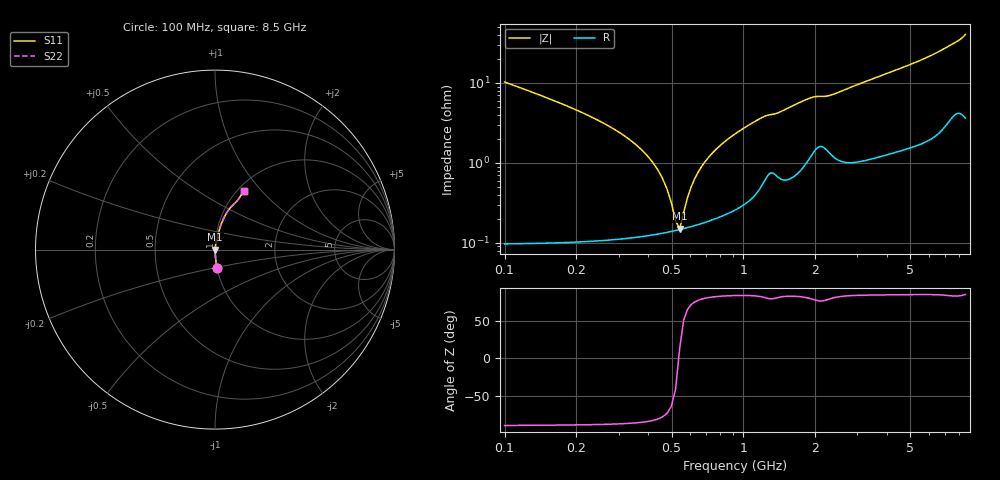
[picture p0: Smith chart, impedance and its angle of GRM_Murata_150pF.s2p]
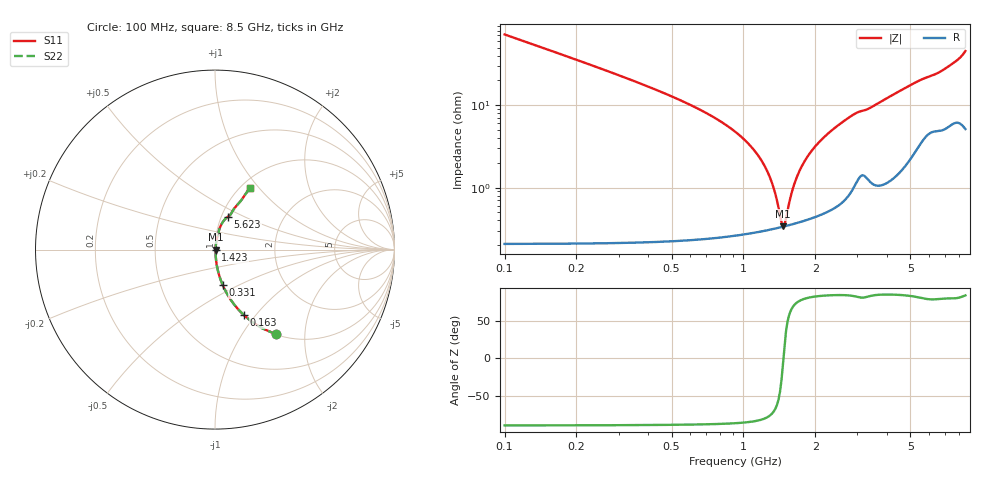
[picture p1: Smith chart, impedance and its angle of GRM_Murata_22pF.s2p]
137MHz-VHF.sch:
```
<QucsStudio Schematic 5.9>
<Properties>
View=-1280.5,-909.221,3400.68,1079.55,0.572357,1010,393
Grid=10,10,0
DataSet=*.dat
DataDisplay=*.dpl
OpenDisplay=3
showFrame=0
FrameText0=Title \n @PATH@@FILE@
FrameText1=Drawn By:
FrameText2=Date: @DATE@
FrameText3=Revision:
tune=C14: C|1pF|21pF
tune=L15: L|50nH|1050nH
</Properties>
<Symbol>
</Symbol>
<Components>
Pac P1 1 -880 410 18 -26 0 "1"1"50"1"0 dBm"0"1 GHz"0"26.85"0"con_2"0
GND * 1 -880 440 0 0 0
GND * 1 -410 370 0 0 0
GND * 1 -410 280 0 0 0
GND * 1 -270 370 0 0 0
GND * 1 -270 280 0 0 0
GND * 1 -30 370 0 0 0
GND * 1 -30 280 0 0 0
GND * 1 110 370 0 0 0
GND * 1 110 280 0 0 0
GND * 1 -570 500 0 0 0
GND * 1 -540 370 0 0 1
GND * 1 -540 450 0 0 1
GND * 1 -150 500 0 0 0
GND * 1 -120 370 0 0 1
GND * 1 -120 450 0 0 1
GND * 1 240 370 0 0 1
SPfile X40 1 110 250 23 -59 0 "GRM_Murata_150pF.s2p"1"2"0"polar"0"linear"0"short"0"none"0"block"0"SOT23"0
SPfile X44 1 -150 450 -221 -6 1 "GRM_Murata_22pF.s2p"1"2"0"polar"0"linear"0"short"0"none"0"block"0"SOT23"0
SPfile X39 1 110 340 36 -45 0 "CoilCraft_33nH.s2p"1"2"0"polar"0"linear"0"short"0"none"0"block"0"SOT23"0
SPfile X41 1 -30 250 -68 -69 0 "GRM_Murata_100pF.s2p"1"2"0"polar"0"linear"0"short"0"none"0"block"0"SOT23"0
SPfile X34 1 -570 450 -225 -17 1 "GRM_Murata_22pF.s2p"1"2"0"polar"0"linear"0"short"0"none"0"block"0"SOT23"0
SPfile X35 1 -410 250 -243 -47 0 "GRM_Murata_100pF.s2p"1"2"0"polar"0"linear"0"short"0"none"0"block"0"SOT23"0
SPfile X36 1 -410 340 -203 -48 0 "CoilCraft_82nH.s2p"1"2"0"polar"0"linear"0"short"0"none"0"block"0"SOT23"0
SPfile X33 1 -570 370 -202 -18 1 "CoilCraft_150nH.s2p"1"2"0"polar"0"linear"0"short"0"none"0"block"0"SOT23"0
GND * 1 240 460 0 0 1
GND * 1 210 490 0 0 0
SPfile X45 1 210 460 61 -24 1 "GRM_Murata_12pF.s2p"1"2"0"polar"0"linear"0"short"0"none"0"block"0"SOT23"0
SPfile X37 1 -270 250 -62 -72 0 "GRM_Murata_82pF.s2p"1"2"0"polar"0"linear"0"short"0"none"0"block"0"SOT23"0
SPfile X32 1 210 370 60 -20 1 "CoilCraft_220nH.s2p"1"2"0"polar"0"linear"0"short"0"none"0"block"0"SOT23"0
GND * 1 1470 370 0 0 0
SPfile X2 1 1470 340 -265 -61 0 "PGA-103+_5V_Plus25DegC_conRuido.s2p"1"2"0"polar"0"linear"0"short"0"none"0"block"0"SOT23"0
C Cblock1 1 880 340 -20 -58 0 "10 nF"1"0"0""0"neutral"0"SMD0603"0
R R_d 1 1290 400 -76 -18 1 "50 Ω"1"26.85"0"european"0"SMD0603"0
GND * 1 1270 160 0 0 0
C C12 1 1270 130 17 -26 1 "0.33uF"1"0"0""0"neutral"0"SMD0603"0
C C13 1 1200 130 -63 -17 1 "10uF"1"0"0""0"neutral"0"SMD0603"0
Vdc V2 1 1110 130 -51 -19 0 "5 V"1"battery"0"con_2"0
GND * 1 1110 160 0 0 0
GND * 1 1200 160 0 0 0
GND * 1 1050 410 0 0 1
GND * 1 1320 540 0 0 1
GND * 1 1290 570 0 0 0
SPfile X53 1 1290 540 61 -21 1 "CoilCraft_470nH.s2p"1"2"0"polar"0"linear"0"short"0"none"0"block"0"SOT23"0
SPfile X54 1 1020 410 -209 -15 1 "CoilCraft_680nH.s2p"1"2"0"polar"0"linear"0"short"0"none"0"block"0"SOT23"0
GND * 1 1600 190 0 0 1
SPfile X55 1 1570 190 86 -20 1 "CoilCraft_470nH.s2p"1"2"0"polar"0"linear"0"short"0"none"0"block"0"SOT23"0
GND * 1 1020 610 0 0 0
R R1 1 1020 520 -75 -19 1 "150 Ω"1"26.85"0"european"0"SMD0603"0
GND * 1 1050 580 0 0 1
SPfile X17 1 1020 580 -231 -22 1 "GRM_Murata_330pF.s2p"1"2"0"polar"0"linear"0"short"0"none"0"block"0"SOT23"0
C Cblock2 1 1650 340 -20 -58 0 "10 nF"1"0"0""0"neutral"0"SMD0603"0
SPfile X43 1 -150 370 -88 -73 1 "CoilCraft_120nH.s2p"1"2"0"polar"0"linear"0"short"0"none"0"block"0"SOT23"0
SPfile X42 1 -270 340 -83 52 0 "CoilCraft_33nH.s2p"1"2"0"polar"0"linear"0"short"0"none"0"block"0"SOT23"0
SPfile X38 1 -30 340 -47 53 0 "CoilCraft_22nH.s2p"1"2"0"polar"0"linear"0"short"0"none"0"block"0"SOT23"0
Pac P2 1 3250 400 18 -26 0 "2"1"50"1"0 dBm"0"1 GHz"0"26.85"0"con_2"0
GND * 1 3250 430 0 0 0
GND * 1 2410 490 0 0 0
GND * 1 2850 520 0 0 0
GND * 1 2690 370 0 0 0
SPfile X47 1 2690 340 -24 -64 0 "CoilCraft_270nH.s2p"1"2"0"polar"0"linear"0"short"0"none"0"block"0"SOT23"0
GND * 1 2570 370 0 0 0
SPfile X48 1 2570 340 -148 -62 0 "GRM_Murata_4pF.s2p"1"2"0"polar"0"linear"0"short"0"none"0"block"0"SOT23"0
GND * 1 2400 420 0 0 1
SPfile X49 1 2370 420 -168 -75 1 "GRM_Murata_68pF.s2p"1"2"0"polar"0"linear"0"short"0"none"0"block"0"SOT23"0
GND * 1 2830 420 0 0 1
SPfile X50 1 2800 420 -229 -20 1 "GRM_Murata_68pF.s2p"1"2"0"polar"0"linear"0"short"0"none"0"block"0"SOT23"0
GND * 1 2490 420 0 0 1
SPfile X51 1 2460 420 -7 32 1 "CoilCraft_16nH.s2p"1"2"0"polar"0"linear"0"short"0"none"0"block"0"SOT23"0
GND * 1 2940 420 0 0 1
SPfile X52 1 2910 420 54 -19 1 "CoilCraft_16nH.s2p"1"2"0"polar"0"linear"0"short"0"none"0"block"0"SOT23"0
.SP SP1 1 -1230 -760 0 9 0 "lin"1"10 MHz"1"600MHz"1"1201"1"yes"1"1"0"2"0"none"0
</Components>
<Wires>
-880 340 -880 380
-880 340 -570 340
-570 340 -440 340
-380 340 -300 340
-240 340 -150 340
0 340 80 340
140 340 210 340
-380 250 -380 340
-440 250 -440 340
-570 400 -570 420
-570 480 -570 500
-240 250 -240 340
-300 250 -300 340
140 250 140 340
80 250 80 340
0 250 0 340
-60 250 -60 340
-150 480 -150 500
210 400 210 430
210 340 850 340
1290 340 1440 340
1290 340 1290 370
1500 340 1570 340
1270 100 1570 100
1200 100 1270 100
1110 100 1200 100
910 340 1020 340
1020 340 1290 340
1020 340 1020 380
1290 430 1290 510
1570 100 1570 160
1570 220 1570 340
1020 440 1020 490
1570 340 1620 340
-150 340 -60 340
-150 400 -150 420
3250 340 3250 370
2600 340 2660 340
2420 340 2420 390
2410 450 2410 490
2370 450 2410 450
2370 390 2420 390
2420 390 2460 390
2410 450 2460 450
2800 450 2850 450
2850 450 2910 450
2850 450 2850 520
2720 340 2850 340
2800 390 2850 390
2850 340 3250 340
2850 390 2910 390
2850 340 2850 390
2420 340 2540 340
1680 340 2420 340
</Wires>
<Diagrams>
<Eqn -1010 -700 272 18 71 #c0c0c0 1 00 1 0 1 1 1 0 1 1 1 0 1 1 -1 -1 -1 "" "" "">
	<Legend 10 -100 0>
	<"f=frequency/1e6" "" #0000ff 2 3 1 -1 0 0 "">
</Eqn>
<Eqn -1010 -670 331 18 71 #c0c0c0 1 00 1 0 1 1 1 0 1 1 1 0 1 1 -1 -1 -1 "" "" "">
	<Legend 10 -100 0>
	<"K=rollet(S)" "" #0000ff 2 3 1 -1 0 0 "">
</Eqn>
<Eqn -1010 -640 331 18 71 #c0c0c0 1 00 1 0 1 1 1 0 1 1 1 0 1 1 -1 -1 -1 "" "" "">
	<Legend 10 -100 0>
	<"u=mu(S)" "" #0000ff 2 3 1 -1 0 0 "">
</Eqn>
<Rect -2 -490 500 337 31 #c0c0c0 1 00 1 0 1 1 1 0 1 1 1 0 1 1 -1 -1 -1 "" "" "">
	<Legend 10 -100 0>
	<"dB(S[1,1])" "" #0000ff 2 3 0 0 0 0 "">
	<"dB(S[2,2])" "" #ff0000 2 3 0 0 0 0 "">
</Rect>
<Smith 57 -100 337 337 31 #c0c0c0 1 00 1 0 1 1 1 0 1 1 1 0 1 1 -1 -1 -1 "" "" "">
	<Legend 10 -100 0>
	<"S[1,1]" "" #0000ff 2 3 0 0 0 0 "">
	  <Mkr 1.37342e+08 263 -190 3 1 0 0 1 50>
	<"S[2,2]" "" #ff0000 2 3 0 0 0 0 "">
	  <Mkr 1.37342e+08 263 -260 3 1 0 0 1 50>
</Smith>
<Tab 536 -439 517 388 71 #c0c0c0 1 00 1 53 1 1 1 0 1 1 1 0 1 1201 -1 -1 -1 "" "" "">
	<"f" "" #0000ff 2 3 1 0 0 0 "">
	<"dB(S[1,1])" "" #0000ff 2 3 1 0 0 0 "">
	<"dB(S[2,2])" "" #0000ff 2 3 1 0 0 0 "">
	<"dB(S[2,1])" "" #0000ff 2 3 1 0 0 0 "">
	<"NF" "" #0000ff 2 3 1 0 0 0 "">
</Tab>
<Rect -661 -500 571 304 31 #c0c0c0 1 00 1 0 1 1 1 0 1 1 1 0 1 1 -1 -1 -1 "" "" "">
	<Legend 10 -100 0>
	<"dB(S[2,1])" "" #0000ff 2 3 0 0 0 0 "">
	  <Mkr 1.37342e+08 191 -310 3 1 0 0 0 50>
	  <Mkr 1.07842e+08 121 -170 3 1 0 0 0 50>
	  <Mkr 8.71917e+07 121 -90 3 1 0 0 0 50>
	  <Mkr 2.12567e+08 341 -270 3 1 0 0 0 50>
</Rect>
<Rect -661 -110 541 327 31 #c0c0c0 1 00 1 0 1 1 1 0 1 1 1 0 1 1 -1 -1 -1 "" "" "">
	<Legend 10 -100 0>
	<"dB(S[1,2])" "" #0000ff 2 3 0 0 0 0 "">
</Rect>
<Eqn 1410 -790 331 18 71 #c0c0c0 1 00 1 0 1 1 1 0 1 1 1 0 1 1 -1 -1 -1 "" "" "">
	<Legend 10 -100 0>
	<"min(u)" "" #0000ff 2 3 1 -1 0 0 "">
</Eqn>
<Eqn 1410 -760 331 18 71 #c0c0c0 1 00 1 0 1 1 1 0 1 1 1 0 1 1 -1 -1 -1 "" "" "">
	<Legend 10 -100 0>
	<"min(K)" "" #0000ff 2 3 1 -1 0 0 "">
</Eqn>
<Eqn 1410 -730 331 18 71 #c0c0c0 1 00 1 0 1 1 1 0 1 1 1 0 1 1 -1 -1 -1 "" "" "">
	<Legend 10 -100 0>
	<"D=detS(S)" "" #0000ff 2 3 1 -1 0 0 "">
</Eqn>
<Rect 1388 -320 625 399 31 #c0c0c0 1 00 1 1e+07 5e+06 3e+07 1 0.740505 0.1 1.1 1 -1 0.5 1 -1 -1 -1 "" "" "">
	<Legend 10 -100 0>
	<"K" "" #0000ff 2 3 0 0 0 1 "">
	<"u" "" #ff0000 2 3 0 0 0 1 "">
</Rect>
</Diagrams>
<Paintings>
Text 1259 617 16 #000000 0 R+ L shunt
Rectangle -930 90 1460 580 #000000 3 1 #c0c0c0 1 0
Rectangle 640 60 1470 610 #000000 3 1 #c0c0c0 1 0
Rectangle 2180 90 1180 560 #000000 3 1 #c0c0c0 1 0
Text -440 720 30 #000000 0 Cauer bandstop filter of order 5 \n 96.7MHz cutoff/center frequency \n impedance 50\\Omega
Text 1100 700 30 #000000 0 AMPLIFICATION STAGE \n + \n STABILIZATION BRANCHES \n 
Text 2520 670 30 #000000 0 band-pass filter, 125MHz...170MHz \n 3^{th} order Butterworth , PI-type, \n impedance 50 \\Omega
Text -995 -789 20 #000000 0 VARIABLES
Text -535 -869 20 #000000 0 S-PARAMETERS SIMULATION + SMITH CHART
Text 1405 -849 25 #000000 0 STABILITY ANALYSIS
</Paintings>
```
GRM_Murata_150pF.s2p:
!Murata Part Number: GRM1885C1H151GA01
!These Parameters are Measured in Series Mode Connection
!Data Generated on Mar 13, 2026
!  o--ll--o
!Port1  Port2
!  o------o
!Operation Temp=25[degC], DC Bias Voltage=0[V]
!Freq. Start=100[MHz] Stop=9[GHz] 401[Steps]
# Hz S RI R 50
!Freq.(Hz) S11(Real) S11(Imag) S21(Real) S21(Imag) S12(Real) S12(Imag) S22(Real) S22(Imag)
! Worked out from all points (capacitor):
!   401 points, 100 MHz to 8.5 GHz, reference 50 ohm
!   read as one part in series: C = 150 pF near 142 MHz
!   lowest |Z| = 150 mohm at 541 MHz (marker M1)
!   series resonance near 536.4 MHz, so ESL is about 590 pH
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1e8  0.0113 -0.1012  0.9887 0.1012  0.9887 0.1012  0.0113 -0.1012
3.73e8  0.00141 -0.0147  0.9986 0.0147  0.9986 0.0147  0.00141 -0.0147
4.36e8  0.00135 -0.00824  0.9987 0.00824  0.9987 0.00824  0.00135 -0.00824
4.99e8  0.00139 -0.00285  0.9986 0.00285  0.9986 0.00285  0.00139 -0.00285
5.41e8  0.00146 0.000347  0.9985 -0.000347  0.9985 -0.000347  0.00146 0.000347
6.46e8  0.00174 0.00742  0.9983 -0.00742  0.9983 -0.00742  0.00174 0.00742
7.51e8  0.00215 0.0136  0.9979 -0.0136  0.9979 -0.0136  0.00215 0.0136
1.213e9  0.00696 0.0367  0.993 -0.0367  0.993 -0.0367  0.00696 0.0367
1.927e9  0.0162 0.0625  0.9838 -0.0625  0.9838 -0.0625  0.0162 0.0625
4.3e9  0.0322 0.1354  0.9678 -0.1354  0.9678 -0.1354  0.0322 0.1354
8.5e9  0.1608 0.3248  0.8392 -0.3248  0.8392 -0.3248  0.1608 0.3248
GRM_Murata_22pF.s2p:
!Murata Part Number: GRM1885C1H220JA01
!These Parameters are Measured in Series Mode Connection
!Data Generated on Mar 13, 2026
!  o--ll--o
!Port1  Port2
!  o------o
!Operation Temp=25[degC], DC Bias Voltage=0[V]
!Freq. Start=100[MHz] Stop=9[GHz] 401[Steps]
# Hz S RI R 50
!Freq.(Hz) S11(Real) S11(Imag) S21(Real) S21(Imag) S12(Real) S12(Imag) S22(Real) S22(Imag)
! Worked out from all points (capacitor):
!   401 points, 100 MHz to 8.5 GHz, reference 50 ohm
!   read as one part in series: C = 22 pF near 142 MHz
!   lowest |Z| = 338 mohm at 1.465 GHz (marker M1)
!   series resonance near 1.471 GHz, so ESL is about 530 pH
!   S11 on the Smith chart (normalised r, x): 100 MHz: 1.00, -1.44; 163 MHz: 1.00, -0.88; 331 MHz: 1.00, -0.42; 1.423 GHz: 1.01, -0.01; 5.623 GHz: 1.07, +0.41; 8.5 GHz: 1.10, +0.90
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1e8  0.3419 -0.4729  0.6581 0.4729  0.6581 0.4729  0.3419 -0.4729
1.63e8  0.1624 -0.3664  0.8376 0.3664  0.8376 0.3664  0.1624 -0.3664
3.31e8  0.0432 -0.1982  0.9568 0.1982  0.9568 0.1982  0.0432 -0.1982
1.129e9  0.00355 -0.0263  0.9965 0.0263  0.9965 0.0263  0.00355 -0.0263
1.423e9  0.00329 -0.00326  0.9967 0.00326  0.9967 0.00326  0.00329 -0.00326
1.465e9  0.00335 -0.000392  0.9967 0.000392  0.9967 0.000392  0.00335 -0.000392
1.738e9  0.00411 0.0166  0.9959 -0.0166  0.9959 -0.0166  0.00411 0.0166
2.179e9  0.00648 0.0403  0.9935 -0.0403  0.9935 -0.0403  0.00648 0.0403
4.3e9  0.0308 0.1308  0.9692 -0.1308  0.9692 -0.1308  0.0308 0.1308
5.623e9  0.0715 0.1827  0.9285 -0.1827  0.9285 -0.1827  0.0715 0.1827
8.5e9  0.1964 0.3445  0.8036 -0.3445  0.8036 -0.3445  0.1964 0.3445
